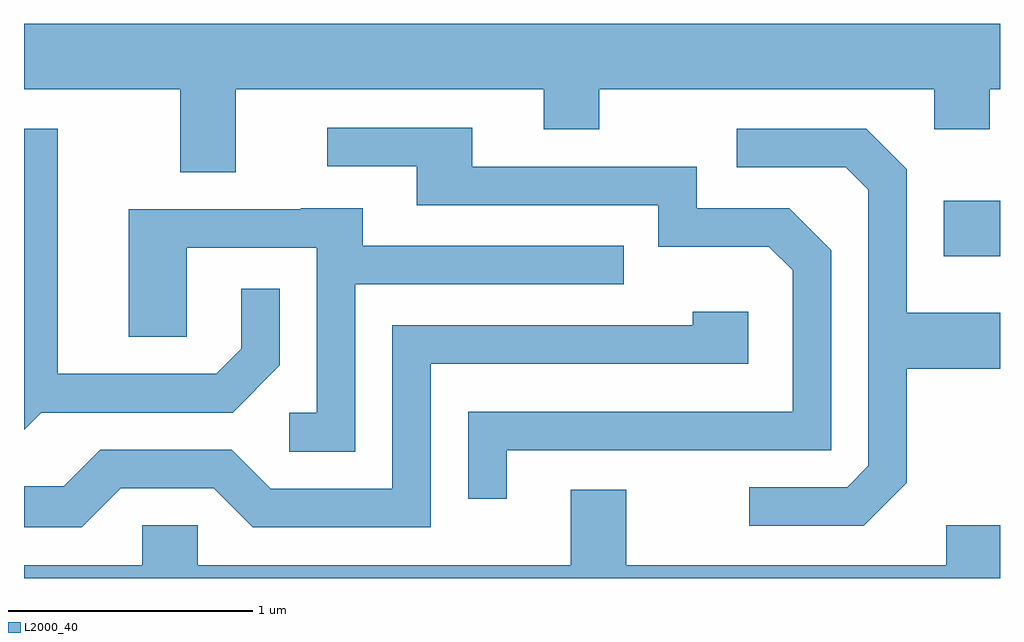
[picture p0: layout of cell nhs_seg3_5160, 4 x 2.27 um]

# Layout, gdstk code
import gdstk
lib = gdstk.Library(unit=1e-6, precision=1e-09)
def R(c, l, rs):  # rectangles x0, y0, x1, y1
    for r in rs: c.add(gdstk.rectangle(r[:2], r[2:], *l))
def P(c, l, *ps):  # polygons
    for p in ps: c.add(gdstk.Polygon(p, *l))
L2000_40 = (2000, 40)

nhs_seg3_5160 = lib.new_cell('nhs_seg3_5160')
R(nhs_seg3_5160, L2000_40, [(339.381,1245.211,339.611,1245.439)])
P(nhs_seg3_5160, L2000_40, [(336.479,1245.896),(337.741,1245.896),(337.741,1245.731),(337.969,1245.731),(337.969,1245.896),(339.341,1245.896),(339.341,1245.731),(339.569,1245.731),(339.569,1245.896),(339.611,1245.896),(339.611,1246.164),(335.611,1246.164),(335.611,1245.896),(336.251,1245.896),(336.251,1245.556),(336.479,1245.556)],
  [(337.589,1244.416),(338.919,1244.416),(338.919,1245.237),(338.747,1245.409),(338.369,1245.409),(338.369,1245.579),(337.449,1245.579),(337.449,1245.739),(336.853,1245.739),(336.853,1245.581),(337.221,1245.581),(337.221,1245.421),(338.211,1245.421),(338.211,1245.251),(338.664,1245.251),(338.761,1245.154),(338.761,1244.574),(337.431,1244.574),(337.431,1244.218),(337.589,1244.218)],
  [(339.229,1244.284),(339.229,1244.751),(339.611,1244.751),(339.611,1244.979),(339.229,1244.979),(339.229,1245.567),(339.062,1245.734),(338.533,1245.734),(338.533,1245.576),(338.979,1245.576),(339.071,1245.484),(339.071,1244.352),(338.984,1244.264),(338.583,1244.264),(338.583,1244.106),(339.052,1244.106)],
  [(335.682,1244.571),(336.467,1244.571),(336.659,1244.764),(336.659,1245.078),(336.501,1245.078),(336.501,1244.832),(336.399,1244.729),(335.749,1244.729),(335.749,1245.734),(335.611,1245.734),(335.611,1244.5)],
  [(336.969,1245.096),(338.068,1245.096),(338.068,1245.254),(336.999,1245.254),(336.999,1245.409),(336.745,1245.409),(336.745,1245.404),(336.041,1245.404),(336.041,1244.881),(336.279,1244.881),(336.279,1245.246),(336.811,1245.246),(336.811,1244.569),(336.698,1244.569),(336.698,1244.411),(336.969,1244.411)],
  [(336.007,1244.261),(336.389,1244.261),(336.549,1244.101),(337.279,1244.101),(337.279,1244.771),(338.579,1244.771),(338.579,1244.984),(338.351,1244.984),(338.351,1244.929),(337.121,1244.929),(337.121,1244.259),(336.622,1244.259),(336.462,1244.419),(335.924,1244.419),(335.774,1244.269),(335.611,1244.269),(335.611,1244.101),(335.847,1244.101)],
  [(339.611,1244.109),(339.391,1244.109),(339.391,1243.944),(338.079,1243.944),(338.079,1244.254),(337.851,1244.254),(337.851,1243.944),(336.324,1243.944),(336.324,1244.109),(336.096,1244.109),(336.096,1243.944),(335.611,1243.944),(335.611,1243.892),(339.611,1243.892)])

lib.write_gds('nhs_seg3_5160.gds')
